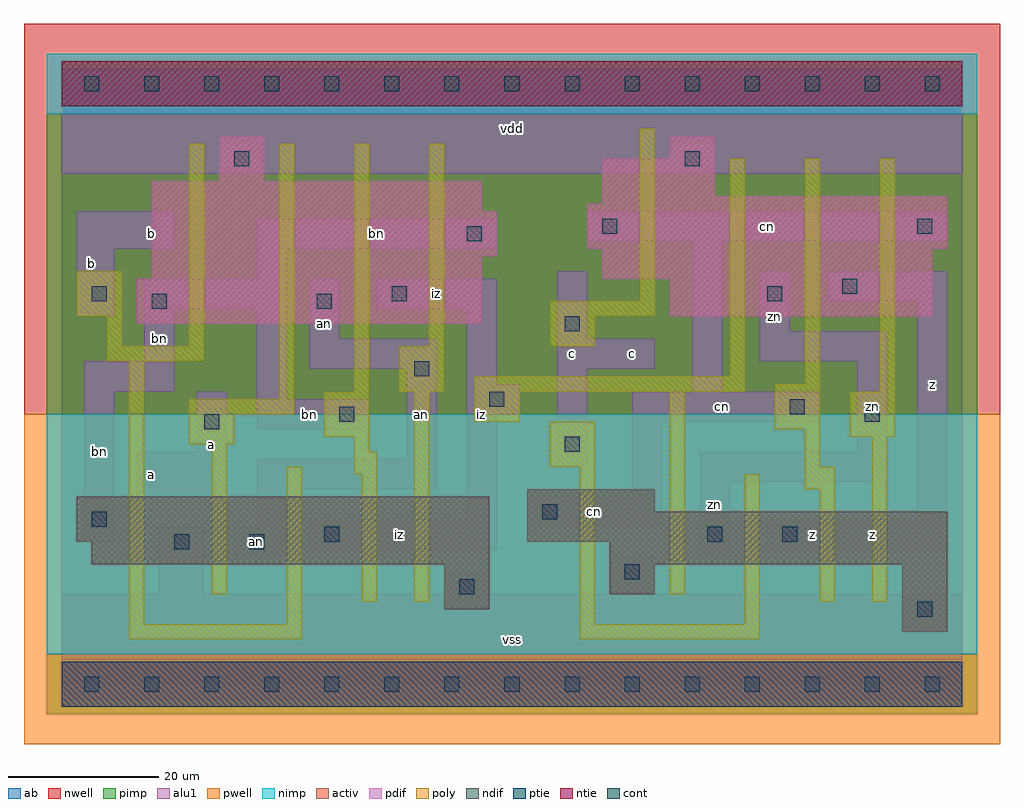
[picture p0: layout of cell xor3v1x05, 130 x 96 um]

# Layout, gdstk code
import gdstk
lib = gdstk.Library(unit=1e-6, precision=1e-09)
def R(c, l, rs):  # rectangles x0, y0, x1, y1
    for r in rs: c.add(gdstk.rectangle(r[:2], r[2:], *l))
def A(c, l, x, y, w, h, nx, ny, dx, dy):  # array of equal rectangles
    R(c, l, [(x+i*dx, y+j*dy, x+i*dx+w, y+j*dy+h) for i in range(nx) for j in range(ny)])
ndif = (3, 0)
pdif = (4, 0)
ntie = (5, 0)
ptie = (6, 0)
cont = (25, 0)
pwell = (41, 0)
nwell = (42, 0)
activ = (43, 0)
pimp = (44, 0)
nimp = (45, 0)
poly = (46, 0)
alu1 = (49, 0)
ab = (63, 0)

xor3v1x05 = lib.new_cell('xor3v1x05')
R(xor3v1x05, ndif, [(112,7,118,16), (51,10,57,16), (73,12,79,16), (4,16,57,19), (73,16,118,19), (2,19,57,25), (62,19,118,23), (62,23,79,26)])
R(xor3v1x05, pdif, [(10,48,56,54), (81,49,116,54), (12,54,56,57), (72,54,116,58), (12,57,58,63), (70,58,118,64), (12,63,56,67), (72,64,118,65), (72,65,87,70), (21,67,27,73), (81,70,87,73)])
R(xor3v1x05, ntie, [(0,77,120,83)])
R(xor3v1x05, ptie, [(0,-3,120,3)])
A(xor3v1x05, cont, 3, -1, 2, 2, 15, 2, 8, 80)
R(xor3v1x05, cont, [(114,9,116,11), (53,12,55,14), (75,14,77,16), (15,18,17,20), (25,18,27,20), (35,19,37,21), (86,19,88,21), (96,19,98,21), (4,21,6,23), (64,22,66,24), (67,31,69,33), (19,34,21,36), (37,35,39,37), (107,35,109,37), (97,36,99,38), (57,37,59,39), (47,41,49,43), (67,47,69,49), (12,50,14,52), (34,50,36,52), (4,51,6,53), (44,51,46,53), (94,51,96,53), (104,52,106,54), (54,59,56,61), (72,60,74,62), (114,60,116,62), (23,69,25,71), (83,69,85,71)])
R(xor3v1x05, pwell, [(-5,-8,125,36)])
R(xor3v1x05, nwell, [(-5,36,125,88)])
R(xor3v1x05, activ, [(0,-3,120,3), (112,7,118,16), (51,10,57,16), (73,12,79,16), (4,16,57,19), (73,16,118,19), (2,19,57,25), (62,19,118,23), (62,23,79,26), (10,48,56,54), (81,49,116,54), (12,54,56,57), (72,54,116,58), (12,57,58,63), (70,58,118,64), (12,63,56,67), (72,64,118,65), (72,65,87,70), (21,67,27,73), (81,70,87,73), (0,77,120,83)])
R(xor3v1x05, pimp, [(-2,-4,122,4), (-2,36,122,76)])
R(xor3v1x05, nimp, [(-2,4,122,36), (-2,76,122,84)])
R(xor3v1x05, poly, [(9,6,32,8), (69,6,93,8), (9,8,11,43), (30,8,32,29), (69,8,71,29), (91,8,93,28), (40,11,42,28), (47,11,49,39), (101,11,103,26), (108,11,110,33), (20,12,22,32), (81,12,83,39), (99,26,103,29), (39,28,42,31), (65,29,71,35), (99,29,101,34), (39,31,41,33), (17,32,23,36), (35,33,41,39), (105,33,111,39), (95,34,101,40), (55,35,61,39), (17,36,31,38), (29,38,31,72), (39,39,41,72), (45,39,51,45), (55,39,91,41), (109,39,111,70), (99,40,101,70), (89,41,91,70), (6,43,19,45), (6,45,8,49), (17,45,19,72), (49,45,51,72), (65,45,71,49), (2,49,8,55), (65,49,79,51), (77,51,79,74)])
R(xor3v1x05, alu1, [(0,-2,120,12), (13,12,19,21), (51,12,57,15), (73,12,79,17), (23,17,30,21), (85,17,89,27), (33,18,58,22), (94,18,118,22), (3,19,7,39), (26,21,30,26), (62,21,80,25), (54,22,58,36), (114,22,118,51), (10,25,22,31), (76,25,80,35), (26,26,50,30), (85,27,110,31), (66,29,70,42), (46,30,50,42), (18,31,22,39), (106,31,110,43), (26,34,41,38), (76,35,101,39), (54,36,61,40), (26,38,30,50), (3,39,15,43), (84,39,88,59), (54,40,58,50), (33,42,50,46), (66,42,79,46), (11,43,15,50), (93,43,110,47), (33,46,37,54), (66,46,70,55), (93,47,97,55), (2,49,7,58), (11,50,30,54), (42,50,58,54), (102,51,118,55), (26,54,30,58), (2,58,15,63), (26,58,58,62), (70,59,118,63), (0,68,120,82)])
R(xor3v1x05, ab, [(0,0,120,80)])
xor3v1x05.add(gdstk.Label('bn', (5,31), layer=49, texttype=0))
xor3v1x05.add(gdstk.Label('bn', (13,46), layer=49, texttype=0))
xor3v1x05.add(gdstk.Label('an', (26,19), layer=49, texttype=0))
xor3v1x05.add(gdstk.Label('bn', (33,36), layer=49, texttype=0))
xor3v1x05.add(gdstk.Label('an', (35,48), layer=49, texttype=0))
xor3v1x05.add(gdstk.Label('iz', (45,20), layer=49, texttype=0))
xor3v1x05.add(gdstk.Label('an', (48,36), layer=49, texttype=0))
xor3v1x05.add(gdstk.Label('iz', (50,52), layer=49, texttype=0))
xor3v1x05.add(gdstk.Label('iz', (56,36), layer=49, texttype=0))
xor3v1x05.add(gdstk.Label('bn', (42,60), layer=49, texttype=0))
xor3v1x05.add(gdstk.Label('cn', (71,23), layer=49, texttype=0))
xor3v1x05.add(gdstk.Label('zn', (87,24), layer=49, texttype=0))
xor3v1x05.add(gdstk.Label('zn', (108,37), layer=49, texttype=0))
xor3v1x05.add(gdstk.Label('cn', (88,37), layer=49, texttype=0))
xor3v1x05.add(gdstk.Label('zn', (95,49), layer=49, texttype=0))
xor3v1x05.add(gdstk.Label('cn', (94,61), layer=49, texttype=0))
xor3v1x05.add(gdstk.Label('a', (12,28), layer=49, texttype=0))
xor3v1x05.add(gdstk.Label('a', (20,32), layer=49, texttype=0))
xor3v1x05.add(gdstk.Label('b', (4,56), layer=49, texttype=0))
xor3v1x05.add(gdstk.Label('b', (12,60), layer=49, texttype=0))
xor3v1x05.add(gdstk.Label('vss', (60,6), layer=49, texttype=0))
xor3v1x05.add(gdstk.Label('c', (68,44), layer=49, texttype=0))
xor3v1x05.add(gdstk.Label('c', (76,44), layer=49, texttype=0))
xor3v1x05.add(gdstk.Label('vdd', (60,74), layer=49, texttype=0))
xor3v1x05.add(gdstk.Label('z', (100,20), layer=49, texttype=0))
xor3v1x05.add(gdstk.Label('z', (108,20), layer=49, texttype=0))
xor3v1x05.add(gdstk.Label('z', (116,40), layer=49, texttype=0))

lib.write_gds('xor3v1x05.gds')
